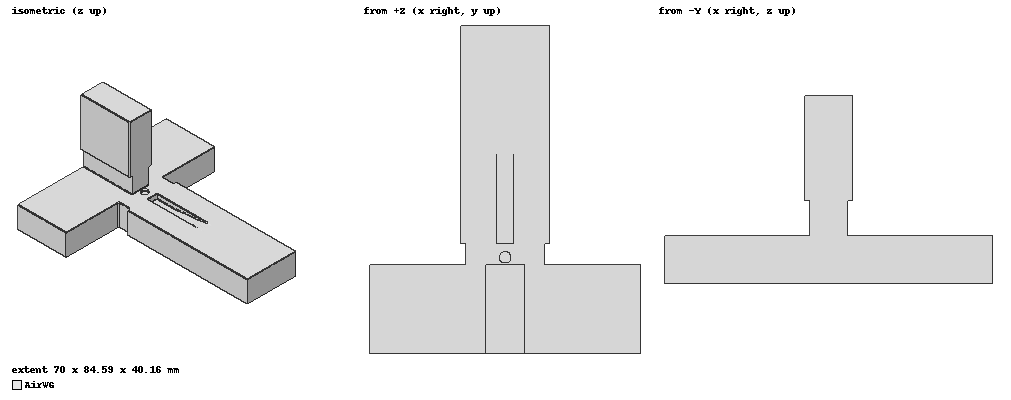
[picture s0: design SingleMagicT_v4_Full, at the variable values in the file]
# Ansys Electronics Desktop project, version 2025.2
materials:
  vacuum: permittivity=1
  pec: conductivity=1e+30

design SingleMagicT_v4_Full (HFSS, HFSS Modal Network, model units mm)
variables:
  wg_a = 22.86mm
  wg_b = 10.16mm
  center_post_radius = 2.4mm
  center_post_height = 16.25mm
  junction_pair_radius = 1.5mm
  junction_pair_height = 0mm
  h_throat_a = 20.4mm
  h_throat_len = 5.5mm
  h_throat2_a = 20.4mm
  h_throat2_len = 0mm
  h_iris_open = 0mm
  h_iris_thickness = 3mm
  h_iris_offset = 8.5mm
  e_step_b = 8mm
  e_step_len = 7.5mm
  ridge_w = 4.572mm
  ridge_g1 = 7.672mm
  ridge_l1 = 9.872mm
  ridge_g2 = 5.8mm
  ridge_l2 = 8.857mm
  terminal_ridge_w = 4.572mm
  terminal_ridge_len = 7.5mm
  screw_radius = 1mm
  screw_p1 = 0mm
  screw_p2 = 0mm
  screw_p3 = 0mm
  screw_z1 = 0mm
  screw_z2 = 8.4mm
  screw_z3 = 17.6mm
  f_adapt = 10.2GHz
  post_radius = 1.5mm
  post_height = 0.7mm
  post_y = 2mm
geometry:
  AirWG [vacuum] = box(corner=(-35mm, -11.43mm, -5.08mm), size=(70mm, 22.86mm, 10.16mm))
  HArmAir = box(corner=(-11.43mm, 11.43mm, -5.08mm), size=(22.86mm, 61.729mm, 10.16mm))
  EArmAir = box(corner=(-5.08mm, -11.43mm, 5.08mm), size=(10.16mm, 22.86mm, 30mm))
  AirWG.unite(HArmAir, EArmAir)
  EStepWall_Left = box(corner=(-5.08mm, -11.43mm, 5.08mm), size=(1.08mm, 22.86mm, 7.5mm))
  EStepWall_Right = box(corner=(4mm, -11.43mm, 5.08mm), size=(1.08mm, 22.86mm, 7.5mm))
  AirWG.subtract(EStepWall_Left, EStepWall_Right)
  HThroat1Wall_Left = box(corner=(-11.43mm, 11.43mm, -5.08mm), size=(1.23mm, 5.5mm, 10.16mm))
  HThroat1Wall_Right = box(corner=(10.2mm, 11.43mm, -5.08mm), size=(1.23mm, 5.5mm, 10.16mm))
  AirWG.subtract(HThroat1Wall_Left, HThroat1Wall_Right)
  JunctionCenterPost = cylinder(axis=Z, base_centre=(0mm, 0mm, -5.08mm), radius=2.4mm, height=16.25mm)
  AirWG.subtract(JunctionCenterPost)
  JunctionPost_Top = cylinder(axis=Z, base_centre=(0mm, 13.43mm, 4.38mm), radius=1.5mm, height=0.7mm)
  JunctionPost_Bottom = cylinder(axis=Z, base_centre=(0mm, 13.43mm, -5.08mm), radius=1.5mm, height=0.7mm)
  AirWG.subtract(JunctionPost_Top, JunctionPost_Bottom)
  RidgeTop_terminal = box(corner=(-2.286mm, 16.93mm, 2.9mm), size=(4.572mm, 7.5mm, 2.18mm))
  RidgeBot_terminal = box(corner=(-2.286mm, 16.93mm, -5.08mm), size=(4.572mm, 7.5mm, 2.18mm))
  RidgeTop_00 = box(corner=(-2.286mm, 24.43mm, 2.9045879mm), size=(4.572mm, 0.780375mm, 2.1754121mm))
  RidgeBot_00 = box(corner=(-2.286mm, 24.43mm, -5.08mm), size=(4.572mm, 0.780375mm, 2.1754121mm))
  RidgeTop_01 = box(corner=(-2.286mm, 25.210375mm, 2.9390217mm), size=(4.572mm, 0.780375mm, 2.1409783mm))
  RidgeBot_01 = box(corner=(-2.286mm, 25.210375mm, -5.08mm), size=(4.572mm, 0.780375mm, 2.1409783mm))
  RidgeTop_02 = box(corner=(-2.286mm, 25.99075mm, 3.0025054mm), size=(4.572mm, 0.780375mm, 2.0774946mm))
  RidgeBot_02 = box(corner=(-2.286mm, 25.99075mm, -5.08mm), size=(4.572mm, 0.780375mm, 2.0774946mm))
  RidgeTop_03 = box(corner=(-2.286mm, 26.771125mm, 3.0898004mm), size=(4.572mm, 0.780375mm, 1.9901996mm))
  RidgeBot_03 = box(corner=(-2.286mm, 26.771125mm, -5.08mm), size=(4.572mm, 0.780375mm, 1.9901996mm))
  RidgeTop_04 = box(corner=(-2.286mm, 27.5515mm, 3.1955498mm), size=(4.572mm, 0.780375mm, 1.8844502mm))
  RidgeBot_04 = box(corner=(-2.286mm, 27.5515mm, -5.08mm), size=(4.572mm, 0.780375mm, 1.8844502mm))
  RidgeTop_05 = box(corner=(-2.286mm, 28.331875mm, 3.3138448mm), size=(4.572mm, 0.780375mm, 1.7661552mm))
  RidgeBot_05 = box(corner=(-2.286mm, 28.331875mm, -5.08mm), size=(4.572mm, 0.780375mm, 1.7661552mm))
  RidgeTop_06 = box(corner=(-2.286mm, 29.11225mm, 3.4378987mm), size=(4.572mm, 0.780375mm, 1.6421013mm))
  RidgeBot_06 = box(corner=(-2.286mm, 29.11225mm, -5.08mm), size=(4.572mm, 0.780375mm, 1.6421013mm))
  RidgeTop_07 = box(corner=(-2.286mm, 29.892625mm, 3.5598461mm), size=(4.572mm, 0.780375mm, 1.5201539mm))
  RidgeBot_07 = box(corner=(-2.286mm, 29.892625mm, -5.08mm), size=(4.572mm, 0.780375mm, 1.5201539mm))
  RidgeTop_08 = box(corner=(-2.286mm, 30.673mm, 3.6707051mm), size=(4.572mm, 0.780375mm, 1.4092949mm))
  RidgeBot_08 = box(corner=(-2.286mm, 30.673mm, -5.08mm), size=(4.572mm, 0.780375mm, 1.4092949mm))
  RidgeTop_09 = box(corner=(-2.286mm, 31.453375mm, 3.760545mm), size=(4.572mm, 0.780375mm, 1.319455mm))
  RidgeBot_09 = box(corner=(-2.286mm, 31.453375mm, -5.08mm), size=(4.572mm, 0.780375mm, 1.319455mm))
  RidgeTop_10 = box(corner=(-2.286mm, 32.23375mm, 3.8188977mm), size=(4.572mm, 0.780375mm, 1.2611023mm))
  RidgeBot_10 = box(corner=(-2.286mm, 32.23375mm, -5.08mm), size=(4.572mm, 0.780375mm, 1.2611023mm))
  RidgeTop_11 = box(corner=(-2.286mm, 33.014125mm, 3.8364529mm), size=(4.572mm, 0.780375mm, 1.2435471mm))
  RidgeBot_11 = box(corner=(-2.286mm, 33.014125mm, -5.08mm), size=(4.572mm, 0.780375mm, 1.2435471mm))
  RidgeTop_12 = box(corner=(-2.286mm, 33.7945mm, 3.8611898mm), size=(4.572mm, 0.780375mm, 1.2188102mm))
  RidgeBot_12 = box(corner=(-2.286mm, 33.7945mm, -5.08mm), size=(4.572mm, 0.780375mm, 1.2188102mm))
  RidgeTop_13 = box(corner=(-2.286mm, 34.574875mm, 3.9197126mm), size=(4.572mm, 0.780375mm, 1.1602874mm))
  RidgeBot_13 = box(corner=(-2.286mm, 34.574875mm, -5.08mm), size=(4.572mm, 0.780375mm, 1.1602874mm))
  RidgeTop_14 = box(corner=(-2.286mm, 35.35525mm, 4.006877mm), size=(4.572mm, 0.780375mm, 1.073123mm))
  RidgeBot_14 = box(corner=(-2.286mm, 35.35525mm, -5.08mm), size=(4.572mm, 0.780375mm, 1.073123mm))
  RidgeTop_15 = box(corner=(-2.286mm, 36.135625mm, 4.1176881mm), size=(4.572mm, 0.780375mm, 0.96231194mm))
  RidgeBot_15 = box(corner=(-2.286mm, 36.135625mm, -5.08mm), size=(4.572mm, 0.780375mm, 0.96231194mm))
  RidgeTop_16 = box(corner=(-2.286mm, 36.916mm, 4.2469137mm), size=(4.572mm, 0.780375mm, 0.83308627mm))
  RidgeBot_16 = box(corner=(-2.286mm, 36.916mm, -5.08mm), size=(4.572mm, 0.780375mm, 0.83308627mm))
  RidgeTop_17 = box(corner=(-2.286mm, 37.696375mm, 4.3887711mm), size=(4.572mm, 0.780375mm, 0.69122892mm))
  RidgeBot_17 = box(corner=(-2.286mm, 37.696375mm, -5.08mm), size=(4.572mm, 0.780375mm, 0.69122892mm))
  RidgeTop_18 = box(corner=(-2.286mm, 38.47675mm, 4.5366872mm), size=(4.572mm, 0.780375mm, 0.54331279mm))
  RidgeBot_18 = box(corner=(-2.286mm, 38.47675mm, -5.08mm), size=(4.572mm, 0.780375mm, 0.54331279mm))
  RidgeTop_19 = box(corner=(-2.286mm, 39.257125mm, 4.6831502mm), size=(4.572mm, 0.780375mm, 0.39684976mm))
  RidgeBot_19 = box(corner=(-2.286mm, 39.257125mm, -5.08mm), size=(4.572mm, 0.780375mm, 0.39684976mm))
  RidgeTop_20 = box(corner=(-2.286mm, 40.0375mm, 4.8196735mm), size=(4.572mm, 0.780375mm, 0.26032653mm))
  RidgeBot_20 = box(corner=(-2.286mm, 40.0375mm, -5.08mm), size=(4.572mm, 0.780375mm, 0.26032653mm))
  RidgeTop_21 = box(corner=(-2.286mm, 40.817875mm, 4.9369001mm), size=(4.572mm, 0.780375mm, 0.14309991mm))
  RidgeBot_21 = box(corner=(-2.286mm, 40.817875mm, -5.08mm), size=(4.572mm, 0.780375mm, 0.14309991mm))
  RidgeTop_22 = box(corner=(-2.286mm, 41.59825mm, 5.0248741mm), size=(4.572mm, 0.780375mm, 0.055125897mm))
  RidgeBot_22 = box(corner=(-2.286mm, 41.59825mm, -5.08mm), size=(4.572mm, 0.780375mm, 0.055125897mm))
  RidgeTop_23 = box(corner=(-2.286mm, 42.378625mm, 5.0734932mm), size=(4.572mm, 0.780375mm, 0.0065068169mm))
  RidgeBot_23 = box(corner=(-2.286mm, 42.378625mm, -5.08mm), size=(4.572mm, 0.780375mm, 0.0065068169mm))
  AirWG.subtract(RidgeTop_terminal, RidgeBot_terminal, RidgeTop_00, RidgeBot_00, RidgeTop_01, RidgeBot_01, RidgeTop_02, RidgeBot_02, RidgeTop_03, RidgeBot_03, RidgeTop_04, RidgeBot_04, RidgeTop_05, RidgeBot_05, RidgeTop_06, RidgeBot_06, RidgeTop_07, RidgeBot_07, RidgeTop_08, RidgeBot_08, RidgeTop_09, RidgeBot_09, RidgeTop_10, RidgeBot_10, RidgeTop_11, RidgeBot_11, RidgeTop_12, RidgeBot_12, RidgeTop_13, RidgeBot_13, RidgeTop_14, RidgeBot_14, RidgeTop_15, RidgeBot_15, RidgeTop_16, RidgeBot_16, RidgeTop_17, RidgeBot_17, RidgeTop_18, RidgeBot_18, RidgeTop_19, RidgeBot_19, RidgeTop_20, RidgeBot_20, RidgeTop_21, RidgeBot_21, RidgeTop_22, RidgeBot_22, RidgeTop_23, RidgeBot_23)
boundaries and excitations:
  PEC_WaveguideWalls: Perfect E Faces=AirWG.face(at (0, 42.3786, -5.04918), -z, at (0, 42.3786, 5.04918), +z, at (0, 41.5983, -4.98089), at (0, 41.5983, 4.98089), at (0, 40.8179, -4.87829), at (0, 40.8179, 4.87829), at (0, 40.0375, -4.75141), at (0, 40.0375, 4.75141), at (0, 39.2571, -4.60992), at (0, 39.2571, 4.60992)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)
  P1_CollinearMinusX: Wave Port Faces=AirWG.face(-x) WavePortType=Modal NumModes=1 Modes{Mode1{IntLine{(-35, 0, -5.08) -> (-35, 0, 5.08)} CharImp=Zwave}}
  P2_CollinearPlusX: Wave Port Faces=AirWG.face(+x) WavePortType=Modal NumModes=1 Modes{Mode1{IntLine{(35, 0, -5.08) -> (35, 0, 5.08)} CharImp=Zwave}}
  P3_HArm_v4: Wave Port Faces=AirWG.face(at (0, 73.159, 0)) WavePortType=Modal NumModes=1 Modes{Mode1{IntLine{(0, 73.159, -5.08) -> (0, 73.159, 5.08)} CharImp=Zwave}}
  P4_EArm: Wave Port Faces=AirWG.face(at (0, 0, 35.08)) WavePortType=Modal NumModes=1 Modes{Mode1{IntLine{(-5.08, 0, 35.08) -> (5.08, 0, 35.08)} CharImp=Zwave}}
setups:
  Setup1: HfssDriven Frequency=10.2GHz MaxDeltaS=0.02 MaximumPasses=8 MinimumPasses=2 MinimumConvergedPasses=1 PercentRefinement=30 BasisOrder=1 PortAccuracy=2 DrivenSolverType="Direct Solver"
    sweep Sweep_9_11p5GHz: 9GHz to 11.5GHz, 101 points; Type=Interpolating InterpTolerance=0.5 InterpMaxSolns=250 InterpUsePortImped=false PassivityErrorTolerance=0.0001
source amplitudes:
  P1_CollinearMinusX:1: 1W 0deg
  P2_CollinearPlusX:1, P3_HArm_v4:1, P4_EArm:1: 0W 0deg
